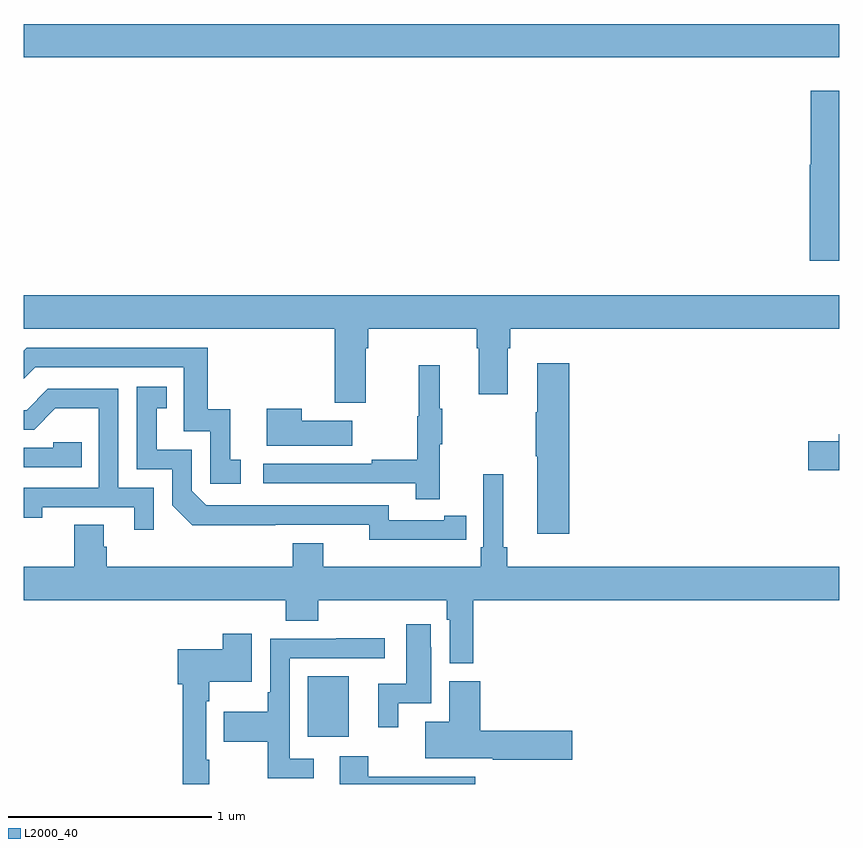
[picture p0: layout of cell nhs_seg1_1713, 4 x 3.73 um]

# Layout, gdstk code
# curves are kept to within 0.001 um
import gdstk
lib = gdstk.Library(unit=1e-6, precision=1e-09)
def R(c, l, rs):  # rectangles x0, y0, x1, y1
    for r in rs: c.add(gdstk.rectangle(r[:2], r[2:], *l))
def P(c, l, *ps):  # polygons
    for p in ps: c.add(gdstk.Polygon(p, *l))
L2000_40 = (2000, 40)

nhs_seg1_1713 = lib.new_cell('nhs_seg1_1713')
R(nhs_seg1_1713, L2000_40, [(206.393,516.431,206.593,516.727), (205,519.764,209,519.928)])
P(nhs_seg1_1713, L2000_40, [(209,519.601),(208.862,519.601),(208.862,519.237),(208.856,519.237),(208.856,518.766),(209,518.766)],
  [(206.677,518.336),(206.69,518.336),(206.69,518.432),(207.221,518.432),(207.221,518.336),(207.233,518.336),(207.233,518.112),(207.373,518.112),(207.373,518.336),(207.386,518.336),(207.386,518.432),(209,518.432),(209,518.596),(205,518.596),(205,518.432),(206.525,518.432),(206.525,518.07),(206.677,518.07)],
  [(206.065,517.791),(206.012,517.791),(206.012,518.038),(205.901,518.038),(205.901,518.34),(205.014,518.34),(205,518.326),(205,518.188),(205.056,518.244),(205.785,518.244),(205.785,517.929),(205.914,517.929),(205.914,517.671),(206.065,517.671)],
  [(207.677,518.263),(207.518,518.263),(207.518,518.024),(207.511,518.024),(207.511,517.807),(207.518,517.807),(207.518,517.428),(207.677,517.428)],
  [(207.041,517.867),(207.052,517.867),(207.052,518.041),(207.041,518.041),(207.041,518.254),(206.938,518.254),(206.938,518.004),(206.931,518.004),(206.931,517.79),(206.707,517.79),(206.707,517.77),(206.175,517.77),(206.175,517.674),(206.923,517.674),(206.923,517.596),(207.041,517.596)],
  [(207.062,517.398),(207.17,517.398),(207.17,517.514),(207.062,517.514),(207.062,517.494),(206.79,517.494),(206.79,517.566),(205.896,517.566),(205.824,517.638),(205.824,517.839),(205.651,517.839),(205.651,518.043),(205.7,518.043),(205.7,518.149),(205.554,518.149),(205.554,517.743),(205.728,517.743),(205.728,517.566),(205.826,517.469),(206.694,517.47),(206.694,517.397)],
  [(205.638,517.653),(205.464,517.653),(205.464,518.139),(205.118,518.139),(205.013,518.034),(205,518.034),(205,517.938),(205.05,517.938),(205.154,518.042),(205.368,518.042),(205.368,517.653),(205,517.653),(205,517.506),(205.09,517.506),(205.09,517.557),(205.541,517.557),(205.541,517.446),(205.638,517.446)],
  [(206.611,517.981),(206.363,517.981),(206.363,518.041),(206.192,518.041),(206.192,517.859),(206.611,517.859)],
  [(209,517.916),(208.997,517.916),(208.997,517.88),(208.848,517.88),(208.848,517.738),(209,517.738)],
  [(205.283,517.875),(205.143,517.875),(205.143,517.848),(205,517.848),(205,517.752),(205.283,517.752)],
  [(207.206,517.1),(209,517.1),(209,517.264),(207.371,517.264),(207.371,517.36),(207.352,517.36),(207.352,517.72),(207.255,517.72),(207.255,517.36),(207.242,517.36),(207.242,517.264),(206.47,517.264),(206.47,517.381),(206.318,517.381),(206.318,517.264),(205.406,517.264),(205.406,517.362),(205.393,517.362),(205.393,517.472),(205.246,517.472),(205.246,517.264),(205,517.264),(205,517.1),(206.285,517.1),(206.285,517.001),(206.445,517.001),(206.445,517.1),(207.075,517.1),(207.075,517.004),(207.09,517.004),(207.09,516.792),(207.206,516.792)],
  [(206.836,516.594),(206.998,516.594),(206.998,516.869),(206.997,516.869),(206.997,516.982),(206.876,516.982),(206.876,516.69),(206.738,516.69),(206.738,516.477),(206.836,516.477)],
  [(205.909,516.317),(205.896,516.317),(205.896,516.605),(205.909,516.605),(205.909,516.701),(206.119,516.701),(206.119,516.937),(205.976,516.937),(205.976,516.859),(205.754,516.859),(205.754,516.689),(205.78,516.689),(205.78,516.199),(205.909,516.199)],
  [(206.422,516.324),(206.304,516.324),(206.304,516.816),(206.77,516.816),(206.77,516.914),(206.533,516.914),(206.533,516.912),(206.208,516.912),(206.208,516.649),(206.196,516.649),(206.196,516.553),(205.981,516.553),(205.981,516.406),(206.196,516.406),(206.196,516.227),(206.422,516.227)],
  [(207.691,516.461),(207.239,516.461),(207.239,516.703),(207.086,516.703),(207.086,516.505),(206.969,516.505),(206.969,516.326),(207.301,516.326),(207.301,516.319),(207.691,516.319)],
  [(207.214,516.235),(206.689,516.235),(206.689,516.334),(206.549,516.334),(206.549,516.199),(207.214,516.199)])

lib.write_gds('nhs_seg1_1713.gds')
